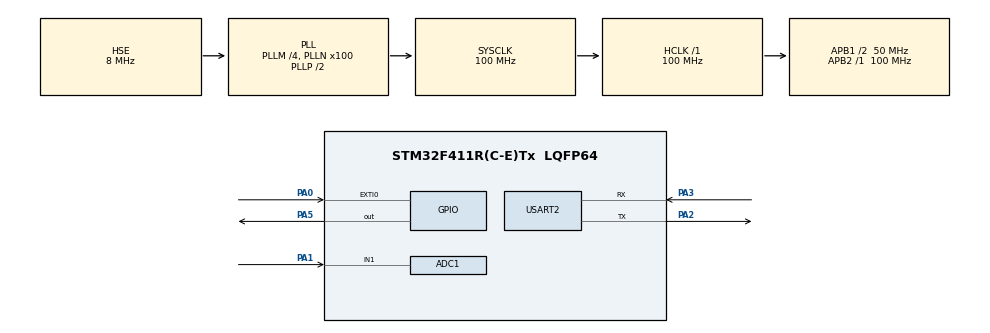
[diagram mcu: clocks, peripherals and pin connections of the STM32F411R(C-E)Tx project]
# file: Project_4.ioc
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ADC1.Channel-0\#ChannelRegularConversion=ADC_CHANNEL_1
ADC1.ContinuousConvMode=ENABLE
ADC1.DMAContinuousRequests=ENABLE
ADC1.NbrOfConversionFlag=1
ADC1.Rank-0\#ChannelRegularConversion=1
ADC1.SamplingTime-0\#ChannelRegularConversion=ADC_SAMPLETIME_3CYCLES
ADC1.master=1
Dma.ADC1.0.Direction=DMA_PERIPH_TO_MEMORY
Dma.ADC1.0.FIFOMode=DMA_FIFOMODE_DISABLE
Dma.ADC1.0.Instance=DMA2_Stream0
Dma.ADC1.0.MemDataAlignment=DMA_MDATAALIGN_HALFWORD
Dma.ADC1.0.MemInc=DMA_MINC_ENABLE
Dma.ADC1.0.Mode=DMA_CIRCULAR
Dma.ADC1.0.PeriphDataAlignment=DMA_PDATAALIGN_HALFWORD
Dma.ADC1.0.PeriphInc=DMA_PINC_DISABLE
Dma.ADC1.0.Priority=DMA_PRIORITY_LOW
Dma.Request0=ADC1
Mcu.Family=STM32F4
Mcu.Name=STM32F411R(C-E)Tx
Mcu.Package=LQFP64
NVIC.DMA2_Stream0_IRQn=true\:0\:0\:false\:false\:true\:false\:true\:true
NVIC.EXTI0_IRQn=true\:0\:0\:false\:false\:true\:true\:true\:true
NVIC.PriorityGroup=NVIC_PRIORITYGROUP_4
PA0-WKUP.Signal=GPXTI0
PA1.Signal=ADCx_IN1
PA13.Mode=Serial_Wire
PA13.Signal=SYS_JTMS-SWDIO
PA14.Mode=Serial_Wire
PA14.Signal=SYS_JTCK-SWCLK
PA2.Mode=Asynchronous
PA2.Signal=USART2_TX
PA3.Mode=Asynchronous
PA3.Signal=USART2_RX
PA5.Signal=GPIO_Output
PH0\ -\ OSC_IN.Mode=HSE-External-Oscillator
PH0\ -\ OSC_IN.Signal=RCC_OSC_IN
PH1\ -\ OSC_OUT.Mode=HSE-External-Oscillator
PH1\ -\ OSC_OUT.Signal=RCC_OSC_OUT
ProjectManager.HeapSize=0x200
ProjectManager.StackSize=0x400
ProjectManager.TargetToolchain=STM32CubeIDE
RCC.48MHZClocksFreq_Value=50000000
RCC.AHBFreq_Value=100000000
RCC.APB1CLKDivider=RCC_HCLK_DIV2
RCC.APB1Freq_Value=50000000
RCC.APB1TimFreq_Value=100000000
RCC.APB2Freq_Value=100000000
RCC.APB2TimFreq_Value=100000000
RCC.CortexFreq_Value=100000000
RCC.HCLKFreq_Value=100000000
RCC.HSE_VALUE=8000000
RCC.HSI_VALUE=16000000
RCC.LSE_VALUE=32768
RCC.PLLM=4
RCC.PLLN=100
RCC.PLLSourceVirtual=RCC_PLLSOURCE_HSE
RCC.SYSCLKFreq_VALUE=100000000
RCC.SYSCLKSource=RCC_SYSCLKSOURCE_PLLCLK
RCC.VCOOutputFreq_Value=200000000
SH.ADCx_IN1.0=ADC1_IN1,IN1
USART2.VirtualMode=VM_ASYNC
board=custom

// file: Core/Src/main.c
/* USER CODE BEGIN Header */
/**
  ******************************************************************************
  * @file           : main.c
  * @brief          : Main program body
  ******************************************************************************
  * @attention
  *
  * Copyright (c) 2025 STMicroelectronics.
  * All rights reserved.
  *
  * This software is licensed under terms that can be found in the LICENSE file
  * in the root directory of this software component.
  * If no LICENSE file comes with this software, it is provided AS-IS.
  *
  ******************************************************************************
  */
/* USER CODE END Header */
#include "main.h"

/* USER CODE BEGIN Includes */
#include <stdio.h>
/* USER CODE END Includes */

ADC_HandleTypeDef hadc1;
DMA_HandleTypeDef hdma_adc1;

UART_HandleTypeDef huart2;

/* USER CODE BEGIN PV */
volatile uint8_t wakeup_flag = 0;
uint32_t last_button_tick = 0;
uint32_t adc_value = 50;   // ADC 값 저장
int temperature = 0;
/* USER CODE END PV */

void SystemClock_Config(void);
static void MX_GPIO_Init(void);
static void MX_DMA_Init(void);
static void MX_USART2_UART_Init(void);
static void MX_ADC1_Init(void);
/* USER CODE BEGIN PFP */
int Read_Temperature(void)
{
    HAL_ADC_Start(&hadc1);
    if(HAL_ADC_PollForConversion(&hadc1, HAL_MAX_DELAY) == HAL_OK)
    {
        adc_value = HAL_ADC_GetValue(&hadc1);
        float voltage = adc_value * 3.3f / 4095.0f;  // 12bit ADC, Vref=3.3V
        float temp = voltage * 100.0f;
        return (int)temp;
    }
    return 0;
}
/* USER CODE END PFP */

int main(void)
{

  /* MCU Configuration--------------------------------------------------------*/

  /* Reset of all peripherals, Initializes the Flash interface and the Systick. */
  HAL_Init();

  /* Configure the system clock */
  SystemClock_Config();

  /* Initialize all configured peripherals */
  MX_GPIO_Init();
  MX_DMA_Init();
  MX_USART2_UART_Init();
  MX_ADC1_Init();

  /* Infinite loop */
  /* USER CODE BEGIN WHILE */
  while (1)
  {
	    uint32_t now = HAL_GetTick();
	    if ((now - last_button_tick) >= 15000)
	    {
	        printf("15s no input -> sleep mode entered...\r\n");
	        HAL_Delay(20);

	        __HAL_GPIO_EXTI_CLEAR_IT(GPIO_PIN_0);

	        HAL_SuspendTick();
	        HAL_PWR_EnterSLEEPMode(PWR_MAINREGULATOR_ON, PWR_SLEEPENTRY_WFI);
	        HAL_ResumeTick();

	        last_button_tick = HAL_GetTick();
	    }

	    if (wakeup_flag)
	    {
	        printf("wake up by button\r\n");
	        wakeup_flag = 0;
	        temperature = Read_Temperature();
	        printf("Temperature: %d C\r\n", temperature);
	    }
    /* USER CODE END WHILE */

  }
}

void SystemClock_Config(void)
{
  RCC_OscInitTypeDef RCC_OscInitStruct = {0};
  RCC_ClkInitTypeDef RCC_ClkInitStruct = {0};

  /** Configure the main internal regulator output voltage
  */
  __HAL_RCC_PWR_CLK_ENABLE();
  __HAL_PWR_VOLTAGESCALING_CONFIG(PWR_REGULATOR_VOLTAGE_SCALE1);

  /** Initializes the RCC Oscillators according to the specified parameters
  * in the RCC_OscInitTypeDef structure.
  */
  RCC_OscInitStruct.OscillatorType = RCC_OSCILLATORTYPE_HSE;
  RCC_OscInitStruct.HSEState = RCC_HSE_ON;
  RCC_OscInitStruct.PLL.PLLState = RCC_PLL_ON;
  RCC_OscInitStruct.PLL.PLLSource = RCC_PLLSOURCE_HSE;
  RCC_OscInitStruct.PLL.PLLM = 4;
  RCC_OscInitStruct.PLL.PLLN = 100;
  RCC_OscInitStruct.PLL.PLLP = RCC_PLLP_DIV2;
  RCC_OscInitStruct.PLL.PLLQ = 4;
  if (HAL_RCC_OscConfig(&RCC_OscInitStruct) != HAL_OK)
  {
    Error_Handler();
  }

  /** Initializes the CPU, AHB and APB buses clocks
  */
  RCC_ClkInitStruct.ClockType = RCC_CLOCKTYPE_HCLK|RCC_CLOCKTYPE_SYSCLK
                              |RCC_CLOCKTYPE_PCLK1|RCC_CLOCKTYPE_PCLK2;
  RCC_ClkInitStruct.SYSCLKSource = RCC_SYSCLKSOURCE_PLLCLK;
  RCC_ClkInitStruct.AHBCLKDivider = RCC_SYSCLK_DIV1;
  RCC_ClkInitStruct.APB1CLKDivider = RCC_HCLK_DIV2;
  RCC_ClkInitStruct.APB2CLKDivider = RCC_HCLK_DIV1;

  if (HAL_RCC_ClockConfig(&RCC_ClkInitStruct, FLASH_LATENCY_3) != HAL_OK)
  {
    Error_Handler();
  }
}

static void MX_ADC1_Init(void)
{

  ADC_ChannelConfTypeDef sConfig = {0};

  /** Configure the global features of the ADC (Clock, Resolution, Data Alignment and number of conversion)
  */
  hadc1.Instance = ADC1;
  hadc1.Init.ClockPrescaler = ADC_CLOCK_SYNC_PCLK_DIV4;
  hadc1.Init.Resolution = ADC_RESOLUTION_12B;
  hadc1.Init.ScanConvMode = DISABLE;
  hadc1.Init.ContinuousConvMode = ENABLE;
  hadc1.Init.DiscontinuousConvMode = DISABLE;
  hadc1.Init.ExternalTrigConvEdge = ADC_EXTERNALTRIGCONVEDGE_NONE;
  hadc1.Init.ExternalTrigConv = ADC_SOFTWARE_START;
  hadc1.Init.DataAlign = ADC_DATAALIGN_RIGHT;
  hadc1.Init.NbrOfConversion = 1;
  hadc1.Init.DMAContinuousRequests = ENABLE;
  hadc1.Init.EOCSelection = ADC_EOC_SINGLE_CONV;
  if (HAL_ADC_Init(&hadc1) != HAL_OK)
  {
    Error_Handler();
  }

  /** Configure for the selected ADC regular channel its corresponding rank in the sequencer and its sample time.
  */
  sConfig.Channel = ADC_CHANNEL_1;
  sConfig.Rank = 1;
  sConfig.SamplingTime = ADC_SAMPLETIME_3CYCLES;
  if (HAL_ADC_ConfigChannel(&hadc1, &sConfig) != HAL_OK)
  {
    Error_Handler();
  }

}

static void MX_USART2_UART_Init(void)
{

  huart2.Instance = USART2;
  huart2.Init.BaudRate = 115200;
  huart2.Init.WordLength = UART_WORDLENGTH_8B;
  huart2.Init.StopBits = UART_STOPBITS_1;
  huart2.Init.Parity = UART_PARITY_NONE;
  huart2.Init.Mode = UART_MODE_TX_RX;
  huart2.Init.HwFlowCtl = UART_HWCONTROL_NONE;
  huart2.Init.OverSampling = UART_OVERSAMPLING_16;
  if (HAL_UART_Init(&huart2) != HAL_OK)
  {
    Error_Handler();
  }

}

static void MX_DMA_Init(void)
{

  /* DMA controller clock enable */
  __HAL_RCC_DMA2_CLK_ENABLE();

  /* DMA interrupt init */
  /* DMA2_Stream0_IRQn interrupt configuration */
  HAL_NVIC_SetPriority(DMA2_Stream0_IRQn, 0, 0);
  HAL_NVIC_EnableIRQ(DMA2_Stream0_IRQn);

}

static void MX_GPIO_Init(void)
{
  GPIO_InitTypeDef GPIO_InitStruct = {0};

  /* GPIO Ports Clock Enable */
  __HAL_RCC_GPIOH_CLK_ENABLE();
  __HAL_RCC_GPIOA_CLK_ENABLE();

  /*Configure GPIO pin Output Level */
  HAL_GPIO_WritePin(GPIOA, GPIO_PIN_5, GPIO_PIN_RESET);

  /*Configure GPIO pin : PA0 */
  GPIO_InitStruct.Pin = GPIO_PIN_0;
  GPIO_InitStruct.Mode = GPIO_MODE_IT_RISING;
  GPIO_InitStruct.Pull = GPIO_NOPULL;
  HAL_GPIO_Init(GPIOA, &GPIO_InitStruct);

  /*Configure GPIO pin : PA5 */
  GPIO_InitStruct.Pin = GPIO_PIN_5;
  GPIO_InitStruct.Mode = GPIO_MODE_OUTPUT_PP;
  GPIO_InitStruct.Pull = GPIO_NOPULL;
  GPIO_InitStruct.Speed = GPIO_SPEED_FREQ_LOW;
  HAL_GPIO_Init(GPIOA, &GPIO_InitStruct);

  /* EXTI interrupt init*/
  HAL_NVIC_SetPriority(EXTI0_IRQn, 0, 0);
  HAL_NVIC_EnableIRQ(EXTI0_IRQn);

}

/* USER CODE BEGIN 4 */
void HAL_GPIO_EXTI_Callback(uint16_t GPIO_Pin)
{
    if (GPIO_Pin == GPIO_PIN_0)
    {
    	wakeup_flag = 1;
    }
}

int _write(int file, char *ptr, int len)
{
    HAL_UART_Transmit(&huart2, (uint8_t *)ptr, len, HAL_MAX_DELAY);
    return len;
}

//int Read_Temperature(void)
//{
//    HAL_ADC_Start(&hadc1);
//    if(HAL_ADC_PollForConversion(&hadc1, HAL_MAX_DELAY) == HAL_OK)
//    {
//        adc_value = HAL_ADC_GetValue(&hadc1);
//        int voltage = adc_value * 3.3f / 4095.0f;  // 12bit ADC, Vref=3.3V
//        return voltage * 100.0f;
//    }
//    return 0;
//}
/* USER CODE END 4 */

void Error_Handler(void)
{
  __disable_irq();
  while (1)
  {
  }
}
